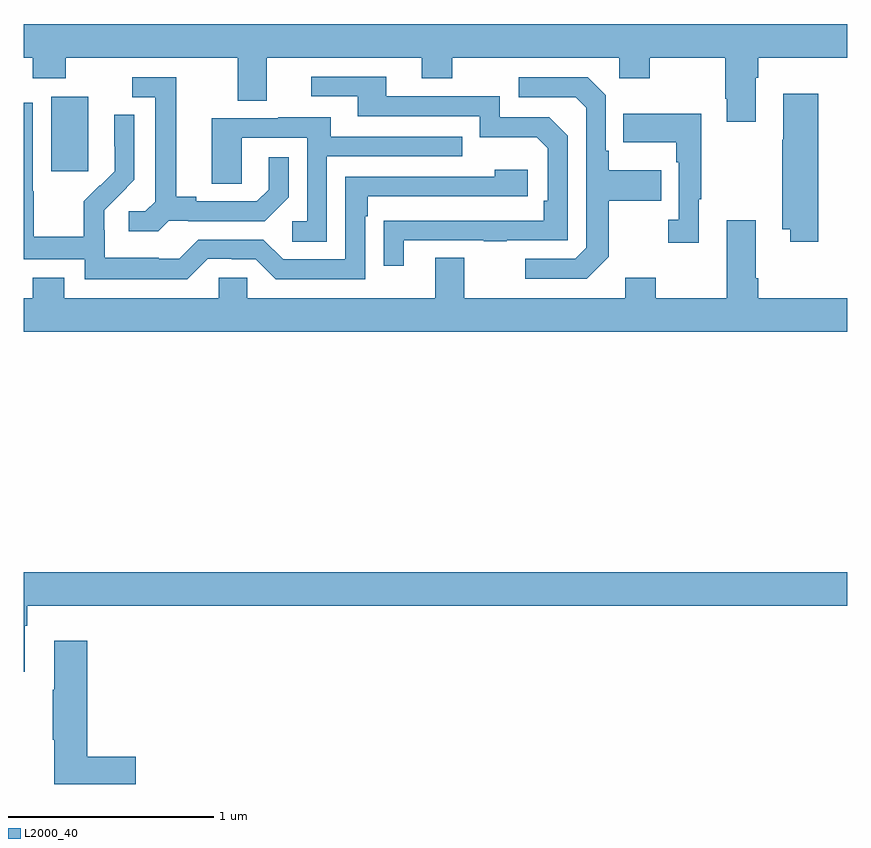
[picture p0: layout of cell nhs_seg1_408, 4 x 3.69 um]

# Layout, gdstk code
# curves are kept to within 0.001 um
import gdstk
lib = gdstk.Library(unit=1e-6, precision=1e-09)
def R(c, l, rs):  # rectangles x0, y0, x1, y1
    for r in rs: c.add(gdstk.rectangle(r[:2], r[2:], *l))
def P(c, l, *ps):  # polygons
    for p in ps: c.add(gdstk.Polygon(p, *l))
L2000_40 = (2000, 40)

nhs_seg1_408 = lib.new_cell('nhs_seg1_408')
R(nhs_seg1_408, L2000_40, [(133.133,555.177,133.312,555.538)])
P(nhs_seg1_408, L2000_40, [(136.555,555.632),(136.568,555.632),(136.568,555.728),(137,555.728),(137,555.892),(133,555.892),(133,555.728),(133.043,555.728),(133.043,555.629),(133.203,555.629),(133.203,555.728),(134.039,555.728),(134.039,555.52),(134.179,555.52),(134.179,555.728),(134.933,555.728),(134.933,555.629),(135.081,555.629),(135.081,555.728),(135.894,555.728),(135.894,555.629),(136.041,555.629),(136.041,555.728),(136.408,555.728),(136.408,555.529),(136.415,555.529),(136.415,555.417),(136.555,555.417)],
  [(134.845,554.841),(135.235,554.841),(135.235,554.836),(135.347,554.836),(135.347,554.841),(135.642,554.841),(135.642,555.348),(135.552,555.438),(135.312,555.438),(135.312,555.54),(134.761,555.54),(134.761,555.636),(134.397,555.636),(134.397,555.54),(134.621,555.54),(134.621,555.444),(135.216,555.444),(135.216,555.341),(135.493,555.341),(135.546,555.288),(135.546,555.034),(135.526,555.034),(135.526,554.937),(134.749,554.936),(134.749,554.718),(134.845,554.718)],
  [(135.841,554.761),(135.841,555.034),(136.097,555.034),(136.097,555.181),(135.841,555.181),(135.841,555.277),(135.828,555.277),(135.828,555.546),(135.741,555.633),(135.405,555.633),(135.405,555.537),(135.681,555.537),(135.732,555.486),(135.732,554.805),(135.678,554.751),(135.435,554.751),(135.435,554.655),(135.735,554.655)],
  [(133.704,554.937),(133.798,554.937),(133.798,554.934),(134.17,554.934),(134.286,555.05),(134.286,555.244),(134.189,555.244),(134.189,555.087),(134.132,555.03),(133.837,555.03),(133.837,555.053),(133.741,555.053),(133.741,555.633),(133.527,555.633),(133.527,555.537),(133.637,555.537),(133.637,555.029),(133.59,554.982),(133.509,554.982),(133.509,554.885),(133.652,554.885)],
  [(136.859,555.553),(136.691,555.553),(136.691,555.329),(136.684,555.329),(136.684,554.894),(136.724,554.894),(136.724,554.835),(136.859,554.835)],
  [(133.893,554.751),(134.009,554.751),(134.009,554.748),(134.127,554.748),(134.223,554.652),(134.658,554.652),(134.658,554.957),(134.671,554.957),(134.671,555.054),(135.448,555.054),(135.448,555.184),(135.287,555.184),(135.287,555.15),(134.562,555.15),(134.562,554.748),(134.259,554.748),(134.163,554.844),(133.848,554.844),(133.755,554.751),(133.655,554.751),(133.655,554.755),(133.392,554.755),(133.392,554.889),(133.39,554.889),(133.39,554.986),(133.536,555.134),(133.536,555.452),(133.44,555.452),(133.44,555.298),(133.442,555.298),(133.442,555.176),(133.371,555.105),(133.368,555.108),(133.291,555.031),(133.291,554.857),(133.047,554.857),(133.047,555.08),(133.044,555.08),(133.044,555.51),(133,555.51),(133,554.748),(133.296,554.748),(133.296,554.651),(133.793,554.651)],
  [(136.279,555.041),(136.291,555.041),(136.291,555.457),(135.913,555.457),(135.913,555.317),(136.17,555.317),(136.17,555.221),(136.182,555.221),(136.182,554.942),(136.131,554.942),(136.131,554.829),(136.279,554.829)],
  [(134.472,555.249),(135.131,555.249),(135.131,555.345),(134.491,555.345),(134.491,555.439),(134.237,555.439),(134.237,555.435),(133.913,555.435),(133.913,555.115),(134.058,555.115),(134.058,555.339),(134.376,555.339),(134.376,554.934),(134.304,554.934),(134.304,554.833),(134.472,554.833)],
  [(134.999,554.755),(134.999,554.56),(134.085,554.56),(134.085,554.658),(133.947,554.658),(133.947,554.56),(133.195,554.56),(133.195,554.659),(133.043,554.659),(133.043,554.56),(133,554.56),(133,554.396),(137,554.396),(137,554.56),(136.568,554.56),(136.568,554.656),(136.555,554.656),(136.555,554.938),(136.415,554.938),(136.415,554.56),(136.071,554.56),(136.071,554.659),(135.923,554.659),(135.923,554.56),(135.139,554.56),(135.139,554.755)],
  [(133.003,552.968),(133.016,552.968),(133.016,553.064),(137,553.064),(137,553.228),(133,553.228),(133,552.744),(133.003,552.744)],
  [(133.543,552.332),(133.307,552.332),(133.307,552.895),(133.148,552.895),(133.148,552.656),(133.141,552.656),(133.141,552.415),(133.148,552.415),(133.148,552.199),(133.543,552.199)])

lib.write_gds('nhs_seg1_408.gds')
